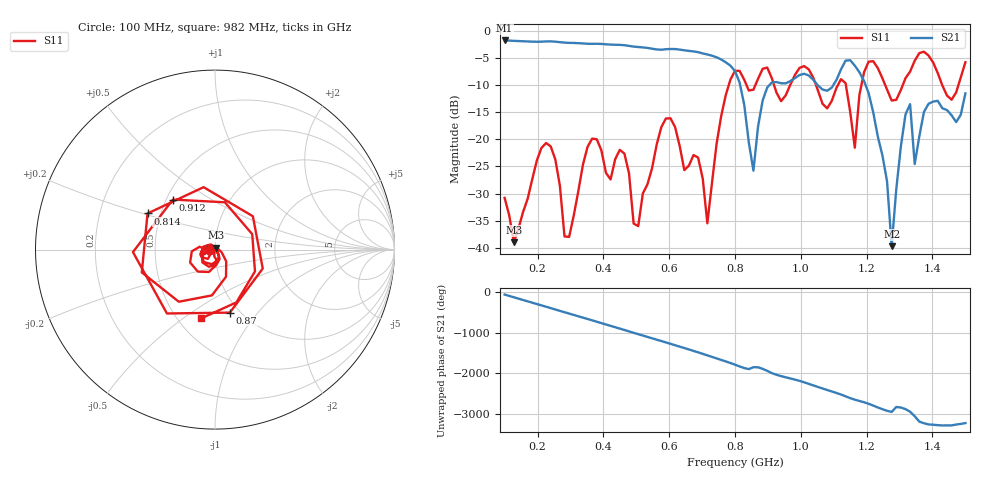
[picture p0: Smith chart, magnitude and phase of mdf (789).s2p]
! NanoVNA-App
! Date: 2025-09-25 15:44:33
! Start: 100MHz Stop: 1,5GHz Points: 101
! S-Parameter data: F S11 S21 S12 S22
# Hz S RI R 50
!  Frequency  S11_Real  S11_Imag  S21_Real  S21_Imag  S12_Real  S12_Imag  S22_Real  S22_Imag
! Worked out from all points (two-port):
!   101 points, 100 MHz to 1.5 GHz, reference 50 ohm
!   highest |S21| = -1.80 dB at 100 MHz (marker M1); lowest = -39.7 dB at 1.276 GHz (marker M2)
!   |S21| within 3 dB of the highest: start of sweep to 739.5 MHz
!   lowest |S11| = -38.9 dB at 128 MHz (marker M3), VSWR 1.02, Z = 50.4 + j1.08 ohm
!   |S11| at or under -10 dB: start of sweep to 781.2 MHz; 1.046 GHz to 1.113 GHz (66.93 MHz wide, 6.2 % of centre); 1.256 GHz to 1.31 GHz (53.62 MHz wide, 4.18 % of centre) (the widest 3 of 7)
!   S12 and S22 are empty: the file has one direction only
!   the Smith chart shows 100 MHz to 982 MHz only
!   S11 on the Smith chart (normalised r, x): 100 MHz: 0.94, -0.01; 814 MHz: 0.42, +0.21; 870 MHz: 0.90, -0.73; 912 MHz: 0.54, +0.35; 982 MHz: 0.65, -0.59
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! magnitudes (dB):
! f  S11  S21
! 100 MHz  -30.8  -1.8
! 128 MHz  -38.9  -1.9
! 212 MHz  -21.6  -2.0
! 282 MHz  -37.9  -2.2
! 338 MHz  -24.7  -2.4
! 464 MHz  -22.6  -2.7
! 506 MHz  -36.0  -3.0
! 576 MHz  -17.8  -3.5
! 716 MHz  -35.5  -4.4
! 800 MHz  -7.4  -7.4
! 814 MHz  -7.4  -9.6
! 856 MHz  -10.9  -25.8
! 870 MHz  -8.9  -17.7
! 912 MHz  -8.8  -9.5
! 982 MHz  -8.2  -8.7
! 1.038 GHz  -8.7  -9.1
! 1.164 GHz  -21.5  -6.4
! 1.192 GHz  -7.7  -9.3
! 1.276 GHz  -12.9  -39.7
! 1.332 GHz  -7.5  -13.5
! 1.346 GHz  -5.5  -24.5
! 1.5 GHz  -5.8  -11.5
